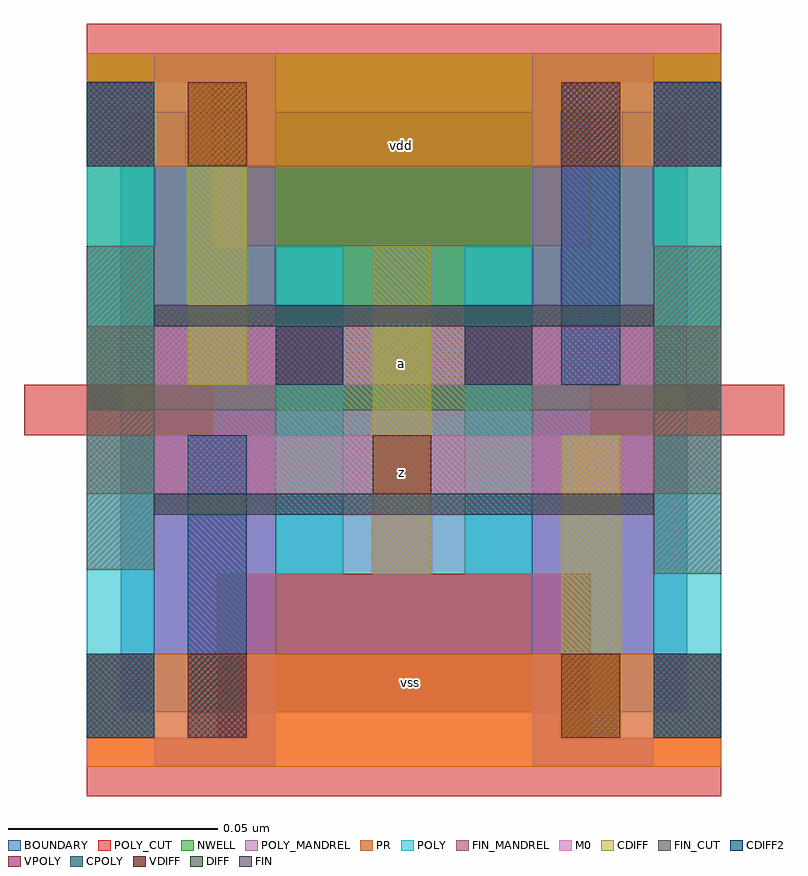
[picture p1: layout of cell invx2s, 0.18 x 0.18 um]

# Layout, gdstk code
import gdstk
lib = gdstk.Library(unit=1e-6, precision=1e-09)
def R(c, l, rs):  # rectangles x0, y0, x1, y1
    for r in rs: c.add(gdstk.rectangle(r[:2], r[2:], *l))
BOUNDARY = (1, 0)
NWELL = (5, 1)
DIFF = (7, 7)
FIN = (7, 8)
FIN_MANDREL = (7, 10)
FIN_CUT = (7, 50)
POLY = (9, 7)
POLY_MANDREL = (9, 10)
POLY_CUT = (9, 50)
CPOLY = (9, 100)
VPOLY = (9, 135)
VDIFF = (10, 0)
CDIFF = (10, 1)
CDIFF2 = (10, 2)
M0 = (30, 0)
PR = (30, 1)

invx2s = lib.new_cell('invx2s')
R(invx2s, BOUNDARY, [(-0.008,0.013,0.127,0.156)])
R(invx2s, NWELL, [(-0.016,0.085,0.135,0.17)])
R(invx2s, DIFF, [(0,0.06,0.119,0.065), (0,0.105,0.119,0.11)])
R(invx2s, FIN, [(0,0.06,0.119,0.065), (0,0.105,0.119,0.11)])
R(invx2s, FIN_MANDREL, [(-0.016,0.065,0.135,0.105)])
R(invx2s, FIN_CUT, [(0.119,0.046,0.135,0.124), (-0.016,0.047,0,0.124)])
R(invx2s, POLY, [(-0.016,0.007,0,0.079), (0.119,0.007,0.135,0.079), (0.029,0.046,0.045,0.124), (0.074,0.046,0.09,0.124), (-0.016,0.091,0,0.163), (0.119,0.091,0.135,0.163)])
R(invx2s, POLY_MANDREL, [(0,0,0.029,0.17), (0.09,0,0.119,0.17)])
R(invx2s, POLY_CUT, [(-0.016,-0.007,0.135,0.007), (0.015,0,0.104,0.046), (-0.031,0.079,0.014,0.091), (0.104,0.079,0.15,0.091), (0.014,0.124,0.104,0.17), (-0.016,0.163,0.135,0.177)])
R(invx2s, CPOLY, [(-0.016,0.007,0,0.027), (0.119,0.007,0.135,0.027), (0.029,0.091,0.045,0.105), (0.074,0.091,0.09,0.105), (-0.016,0.143,0,0.163), (0.119,0.143,0.135,0.163)])
R(invx2s, VPOLY, [(-0.016,0.007,0,0.027), (0.119,0.007,0.135,0.027), (0.029,0.091,0.045,0.105), (0.074,0.091,0.09,0.105), (0.074,0.091,0.09,0.105), (-0.016,0.143,0,0.163), (0.119,0.143,0.135,0.163)])
R(invx2s, VDIFF, [(0.008,0.007,0.022,0.027), (0.097,0.007,0.111,0.027), (0.052,0.065,0.066,0.079), (0.008,0.143,0.022,0.163), (0.097,0.143,0.111,0.163)])
R(invx2s, CDIFF, [(0.097,0.007,0.111,0.079), (0.052,0.046,0.066,0.124), (0.008,0.091,0.022,0.163)])
R(invx2s, CDIFF2, [(0.008,0.007,0.022,0.079), (0.097,0.091,0.111,0.163)])
R(invx2s, M0, [(0,0.065,0.119,0.079), (0,0.091,0.119,0.105)])
R(invx2s, PR, [(-0.016,0,0.135,0.027), (-0.016,0.143,0.135,0.17)])
invx2s.add(gdstk.Label('vdd', (0.059,0.148), layer=30, texttype=2))
invx2s.add(gdstk.Label('vss', (0.061,0.02), layer=30, texttype=2))
invx2s.add(gdstk.Label('z', (0.059,0.07), layer=30, texttype=12))
invx2s.add(gdstk.Label('a', (0.059,0.096), layer=30, texttype=12))
invx2s.add(gdstk.Label('vdd', (0.059,0.148), layer=30, texttype=12))
invx2s.add(gdstk.Label('vss', (0.061,0.02), layer=30, texttype=12))

lib.write_gds('invx2s.gds')
